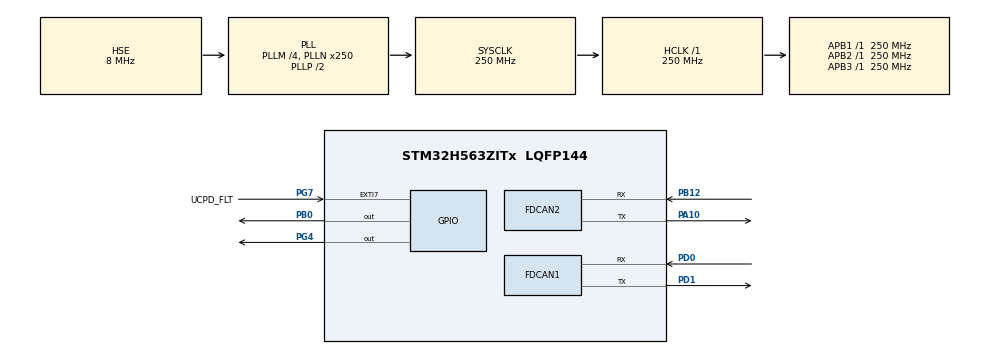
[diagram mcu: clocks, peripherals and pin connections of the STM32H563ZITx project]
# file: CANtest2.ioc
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BOOTPATH.BootPathName=LEGACY
BOOTPATH.UserSelectedBootPath=LEGACY
CORTEX_M33_NS.userName=CORTEX_M33
FDCAN1.CalculateBaudRateNominal=125000
FDCAN1.CalculateTimeBitNominal=8000
FDCAN1.CalculateTimeQuantumNominal=500.0
FDCAN1.NominalPrescaler=4
FDCAN1.NominalTimeSeg1=11
FDCAN1.NominalTimeSeg2=4
FDCAN2.CalculateBaudRateNominal=125000
FDCAN2.CalculateTimeBitNominal=8000
FDCAN2.CalculateTimeQuantumNominal=500.0
FDCAN2.NominalPrescaler=4
FDCAN2.NominalTimeSeg1=11
FDCAN2.NominalTimeSeg2=4
Mcu.Family=STM32H5
Mcu.Name=STM32H563ZITx
Mcu.Package=LQFP144
NUCLEO-H563ZI.BUTTON=1
NUCLEO-H563ZI.Bsp_Common_DEMO=true
NUCLEO-H563ZI.LD1=true
NUCLEO-H563ZI.LD2=true
NUCLEO-H563ZI.LD3=true
NUCLEO-H563ZI.VCP=true
NVIC.EXTI13_IRQn=true\:0\:0\:false\:false\:true\:false\:true\:true
NVIC.FDCAN1_IT0_IRQn=true\:5\:0\:true\:false\:true\:true\:true\:true
NVIC.FDCAN1_IT1_IRQn=true\:5\:0\:true\:false\:true\:true\:true\:true
NVIC.FDCAN2_IT0_IRQn=true\:5\:0\:true\:false\:true\:true\:true\:true
NVIC.FDCAN2_IT1_IRQn=true\:5\:0\:true\:false\:true\:true\:true\:true
NVIC.PriorityGroup=NVIC_PRIORITYGROUP_4
NVIC.TIM6_IRQn=true\:15\:0\:false\:false\:true\:false\:true\:true
NVIC.TimeBase=TIM6_IRQn
NVIC.TimeBaseIP=TIM6
PA1.GPIO_Label=RMII_REF_CLK
PA1.GPIO_Mode=GPIO_MODE_AF_PP
PA1.GPIO_PuPd=GPIO_NOPULL
PA1.GPIO_Speed=GPIO_SPEED_FREQ_LOW
PA1.Signal=ETH_REF_CLK
PA10.Mode=FDCAN_Activate
PA10.Signal=FDCAN2_TX
PA11.GPIO_Label=USB_FS_N
PA11.Signal=USB_DM
PA12.GPIO_Label=USB_FS_P
PA12.Signal=USB_DP
PA13(JTMS/SWDIO).GPIO_Label=SWDIO
PA13(JTMS/SWDIO).Signal=DEBUG_JTMS-SWDIO
PA14(JTCK/SWCLK).GPIO_Label=SWCLK
PA14(JTCK/SWCLK).Signal=DEBUG_JTCK-SWCLK
PA15(JTDI).GPIO_Label=T_JTDI
PA15(JTDI).Signal=DEBUG_JTDI
PA2.GPIO_Label=RMII_MDIO
PA2.GPIO_Mode=GPIO_MODE_AF_PP
PA2.GPIO_PuPd=GPIO_NOPULL
PA2.GPIO_Speed=GPIO_SPEED_FREQ_LOW
PA2.Signal=ETH_MDIO
PA4.GPIO_Label=VBUS_SENSE
PA4.Signal=ADCx_INP18
PA7.GPIO_Label=RMII_CRS_DV
PA7.GPIO_Mode=GPIO_MODE_AF_PP
PA7.GPIO_PuPd=GPIO_NOPULL
PA7.GPIO_Speed=GPIO_SPEED_FREQ_LOW
PA7.Signal=ETH_CRS_DV
PA9.GPIO_Label=UCDP_DBn
PA9.Signal=UCPD1_DB1
PB0.Signal=GPIO_Output
PB12.Mode=FDCAN_Activate
PB12.Signal=FDCAN2_RX
PB13.GPIO_Label=UCPD_CC1
PB13.Signal=UCPD1_CC1
PB14.GPIO_Label=UCPD_CC2
PB14.Signal=UCPD1_CC2
PB15.GPIO_Label=RMII_TXD1
PB15.GPIO_Mode=GPIO_MODE_AF_PP
PB15.GPIO_PuPd=GPIO_NOPULL
PB15.GPIO_Speed=GPIO_SPEED_FREQ_LOW
PB15.Signal=ETH_TXD1
PB3(JTDO/TRACESWO).GPIO_Label=SWO
PB3(JTDO/TRACESWO).Signal=DEBUG_JTDO-SWO
PB6.GPIO_Label=ARD_D1_TX
PB6.Signal=LPUART1_TX
PB7.GPIO_Label=ARD_D0_RX
PB7.Signal=LPUART1_RX
PC1.GPIO_Label=RMII_MDC
PC1.GPIO_Mode=GPIO_MODE_AF_PP
PC1.GPIO_PuPd=GPIO_NOPULL
PC1.GPIO_Speed=GPIO_SPEED_FREQ_LOW
PC1.Signal=ETH_MDC
PC14-OSC32_IN(OSC32_IN).Signal=RCC_OSC32_IN
PC15-OSC32_OUT(OSC32_OUT).Signal=RCC_OSC32_OUT
PC4.GPIO_Label=RMII_RXD0
PC4.GPIO_Mode=GPIO_MODE_AF_PP
PC4.GPIO_PuPd=GPIO_NOPULL
PC4.GPIO_Speed=GPIO_SPEED_FREQ_LOW
PC4.Signal=ETH_RXD0
PC5.GPIO_Label=RMII_RXD1
PC5.GPIO_Mode=GPIO_MODE_AF_PP
PC5.GPIO_PuPd=GPIO_NOPULL
PC5.GPIO_Speed=GPIO_SPEED_FREQ_LOW
PC5.Signal=ETH_RXD1
PD0.Mode=FDCAN_Activate
PD0.Signal=FDCAN1_RX
PD1.Mode=FDCAN_Activate
PD1.Signal=FDCAN1_TX
PE2.GPIO_Label=TRACE_CK
PE2.Signal=DEBUG_TRACECLK
PE3.GPIO_Label=TRACE_D0
PE3.Signal=DEBUG_TRACED0
PE4.GPIO_Label=TRACE_D1
PE4.Signal=DEBUG_TRACED1
PE5.GPIO_Label=TRACE_D2
PE5.Signal=DEBUG_TRACED2
PE6.GPIO_Label=TRACE_D3
PE6.Signal=DEBUG_TRACED3
PG11.GPIO_Label=RMII_TXT_EN
PG11.GPIO_Mode=GPIO_MODE_AF_PP
PG11.GPIO_PuPd=GPIO_NOPULL
PG11.GPIO_Speed=GPIO_SPEED_FREQ_LOW
PG11.Signal=ETH_TX_EN
PG13.GPIO_Label=RMI_TXD0
PG13.GPIO_Mode=GPIO_MODE_AF_PP
PG13.GPIO_PuPd=GPIO_NOPULL
PG13.GPIO_Speed=GPIO_SPEED_FREQ_LOW
PG13.Signal=ETH_TXD0
PG4.Signal=GPIO_Output
PG7.GPIO_Label=UCPD_FLT
PG7.Signal=GPXTI7
PH0-OSC_IN(PH0).GPIO_Label=STLK_MCO
PH0-OSC_IN(PH0).Mode=HSE-DIG-External-Clock-Source
PH0-OSC_IN(PH0).Signal=RCC_OSC_IN
ProjectManager.HeapSize=0x200
ProjectManager.StackSize=0x400
ProjectManager.TargetToolchain=CMake
RCC.ADCFreq_Value=250000000
RCC.AHBFreq_Value=250000000
RCC.APB1Freq_Value=250000000
RCC.APB1TimFreq_Value=250000000
RCC.APB2Freq_Value=250000000
RCC.APB2TimFreq_Value=250000000
RCC.APB3Freq_Value=250000000
RCC.CSI_VALUE=4000000
RCC.CortexFreq_Value=250000000
RCC.EPOD_VALUE=8000000
RCC.HCLKFreq_Value=250000000
RCC.HSE_VALUE=8000000
RCC.HSI48_VALUE=48000000
RCC.HSIDiv=RCC_HSI_DIV1
RCC.HSI_VALUE=64000000
RCC.LSE_VALUE=32768
RCC.LSIRC_VALUE=32000
RCC.PLLFRACN=0
RCC.PLLM=4
RCC.PLLN=250
RCC.PLLSourceVirtual=RCC_PLL1_SOURCE_HSE
RCC.SYSCLKFreq_VALUE=250000000
RCC.SYSCLKSource=RCC_SYSCLKSOURCE_PLLCLK
RCC.USBFreq_Value=48000000
RCC.VCOOutputFreq_Value=500000000
SH.ADCx_INP18.0=ADC1_INP18
VP_BOOTPATH_VS_BOOTPATH.Mode=BP_Activate
VP_CORTEX_M33_NS_VS_Hclk.Mode=Hclk_Mode
VP_ICACHE_VS_ICACHE.Mode=DefaultMode
VP_MEMORYMAP_VS_MEMORYMAP.Mode=CurAppReg
VP_NUCLEO-H563ZI_VS_BSP_COMMON.Mode=COMMON
VP_PWR_VS_DBSignals.Mode=DisableDeadBatterySignals
VP_PWR_VS_LPOM.Mode=PowerOptimisation
VP_PWR_VS_SECSignals.Mode=Security/Privilege
VP_SYS_VS_tim6.Mode=TIM6
board=NUCLEO-H563ZI

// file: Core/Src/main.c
/* USER CODE BEGIN Header */
/**
  ******************************************************************************
  * @file           : main.c
  * @brief          : Main program body
  ******************************************************************************
  * @attention
  *
  * Copyright (c) 2026 STMicroelectronics.
  * All rights reserved.
  *
  * This software is licensed under terms that can be found in the LICENSE file
  * in the root directory of this software component.
  * If no LICENSE file comes with this software, it is provided AS-IS.
  *
  ******************************************************************************
  */
/* USER CODE END Header */
#include "main.h"
#include "stm32h5xx_nucleo.h"

COM_InitTypeDef BspCOMInit;
__IO uint32_t BspButtonState = BUTTON_RELEASED;

FDCAN_HandleTypeDef hfdcan1;
FDCAN_HandleTypeDef hfdcan2;

/* USER CODE BEGIN PV */

static volatile uint8_t can_rx_complete = 0;
static volatile uint8_t can_tx_complete = 0;
static volatile FDCAN_RxHeaderTypeDef can_rx_hdr;
static volatile uint8_t can_rx_buf[8];

/* USER CODE END PV */

void SystemClock_Config(void);
static void MX_GPIO_Init(void);
static void MX_FDCAN1_Init(void);
static void MX_FDCAN2_Init(void);
static void MX_ICACHE_Init(void);

/* USER CODE BEGIN 0 */

static uint8_t can_test_number = 0;  /* 0 = CAN1 Loopback, 1 = CAN2 Loopback, 2 = Direct Transceiver Loopback (bidirectional) */

/**
  * @brief  Perform CAN tests with different modes
  * @param  None
  * @retval None
  */
static void CAN_LoopbackTest(void)
{
  HAL_StatusTypeDef status;
  FDCAN_TxHeaderTypeDef TxHeader;
  uint8_t TxData[8] = {0x01, 0x02, 0x03, 0x04, 0x05, 0x06, 0x07, 0x08};
  /* RX handled via interrupt callback into can_rx_hdr/can_rx_buf */
  uint32_t timeout = 0;
  uint8_t test_passed = 0;
  uint8_t i;
  FDCAN_HandleTypeDef *TestHandle;
  FDCAN_HandleTypeDef *OtherHandle;
  const char *TestName;
  const char *OtherName;
  const char *TestDesc;

  printf("\n\r========== CAN Test %d Start ==========\n\r", can_test_number + 1);

  /* Determine which test to run */
  switch (can_test_number)
  {
    case 0:
      /* Test 1: CAN1 Internal Loopback */
      TestHandle = &hfdcan1;
      OtherHandle = NULL;
      TestName = "CAN1";
      OtherName = NULL;
      TestDesc = "Internal Loopback with Interrupts";
      printf("Testing: CAN1 (Internal Loopback with Interrupts)\n\r");
      break;
    case 1:
      /* Test 2: CAN2 Internal Loopback */
      TestHandle = &hfdcan2;
      OtherHandle = NULL;
      TestName = "CAN2";
      OtherName = NULL;
      TestDesc = "Internal Loopback with Interrupts";
      printf("Testing: CAN2 (Internal Loopback with Interrupts)\n\r");
      break;
    case 2:
      /* Test 3: Direct Transceiver Loopback via External Connection - Bidirectional */
      TestHandle = &hfdcan1;
      OtherHandle = &hfdcan2;
      TestName = "CAN1";
      OtherName = "CAN2";
      TestDesc = "Direct Transceiver Loopback (Bidirectional)";
      printf("Testing: Bidirectional Direct Transceiver Loopback\n\r");
      printf("Note: Requires CAN1 and CAN2 connected on external CAN bus\n\r");
      break;
    default:
      can_test_number = 0;
      return;
  }

  /* Stop any existing operation */
  HAL_FDCAN_Stop(TestHandle);
  if (OtherHandle != NULL)
  {
    HAL_FDCAN_Stop(OtherHandle);
  }
  HAL_Delay(10);

  /* Reset flags */
  can_rx_complete = 0;
  can_tx_complete = 0;

  /* Configure the test based on test number */
  if (can_test_number == 2)
  {
    /* Test 3: Reconfigure to Normal Mode for direct transceiver loopback */
    printf("[DEBUG] Reconfiguring to Normal Mode...\n\r");
    TestHandle->Init.Mode = FDCAN_MODE_NORMAL;
    TestHandle->Init.StdFiltersNbr = 2;  /* Need 2 filters for bidirectional test */
    OtherHandle->Init.Mode = FDCAN_MODE_NORMAL;
    OtherHandle->Init.StdFiltersNbr = 2;  /* Need 2 filters for bidirectional test */
    if (HAL_FDCAN_Init(TestHandle) != HAL_OK)
    {
      printf("ERROR: Failed to reconfigure %s to Normal Mode\n\r", TestName);
      goto test_end;
    }
    if (HAL_FDCAN_Init(OtherHandle) != HAL_OK)
    {
      printf("ERROR: Failed to reconfigure %s to Normal Mode\n\r", OtherName);
      goto test_end;
    }
    printf("Reconfigured %s and %s to Normal Mode\n\r", TestName, OtherName);
  }

  /* Add a filter to accept the test message (must be done AFTER Init) */
  FDCAN_FilterTypeDef sFilterConfig;
  sFilterConfig.IdType = FDCAN_STANDARD_ID;
  sFilterConfig.FilterIndex = 0;
  sFilterConfig.FilterType = FDCAN_FILTER_MASK;
  sFilterConfig.FilterConfig = FDCAN_FILTER_TO_RXFIFO0;
  sFilterConfig.FilterID1 = 0x123;
  sFilterConfig.FilterID2 = 0x7FF;  /* Mask for all 11-bit identifiers */

  if (HAL_FDCAN_ConfigFilter(TestHandle, &sFilterConfig) != HAL_OK)
  {
    printf("ERROR: Failed to configure filter on %s\n\r", TestName);
  }

  /* For test 3, add filter for reverse direction ID on CAN1 */
  if (can_test_number == 2)
  {
    FDCAN_FilterTypeDef sFilterConfig1 = sFilterConfig;
    sFilterConfig1.FilterID1 = 0x234;  /* Accept reverse direction ID */
    sFilterConfig1.FilterIndex = 1;  /* Use second filter slot */
    if (HAL_FDCAN_ConfigFilter(TestHandle, &sFilterConfig1) != HAL_OK)
    {
      printf("ERROR: Failed to configure second filter on %s\n\r", TestName);
    }
    printf("[DEBUG] %s filters configured for IDs 0x%03X and 0x%03X\n\r",
           TestName, (unsigned int)sFilterConfig.FilterID1, (unsigned int)sFilterConfig1.FilterID1);
  }
  else
  {
    printf("[DEBUG] %s filter configured for ID 0x%03X\n\r", TestName, (unsigned int)sFilterConfig.FilterID1);
  }

  if (OtherHandle != NULL)
  {
    /* For test 3, also configure filter for reverse direction ID */
    FDCAN_FilterTypeDef sFilterConfig2 = sFilterConfig;
    sFilterConfig2.FilterID1 = 0x234;  /* Accept reverse direction ID */
    sFilterConfig2.FilterIndex = 1;  /* Use second filter slot */
    if (HAL_FDCAN_ConfigFilter(OtherHandle, &sFilterConfig) != HAL_OK)
    {
      printf("ERROR: Failed to configure filter on %s\n\r", OtherName);
    }
    if (HAL_FDCAN_ConfigFilter(OtherHandle, &sFilterConfig2) != HAL_OK)
    {
      printf("ERROR: Failed to configure second filter on %s\n\r", OtherName);
    }
    printf("[DEBUG] %s filters configured for IDs 0x%03X and 0x%03X\n\r",
           OtherName, (unsigned int)sFilterConfig.FilterID1, (unsigned int)sFilterConfig2.FilterID1);
  }

  /* Start FDCAN controllers */
  if (HAL_FDCAN_Start(TestHandle) != HAL_OK)
  {
    printf("ERROR: Failed to start %s\n\r", TestName);
    goto test_end;
  }
  printf("[DEBUG] %s started successfully\n\r", TestName);

  if (OtherHandle != NULL)
  {
    if (HAL_FDCAN_Start(OtherHandle) != HAL_OK)
    {
      printf("ERROR: Failed to start %s\n\r", OtherName);
      goto test_end;
    }
    printf("[DEBUG] %s started successfully\n\r", OtherName);
  }

  /* Configure RX FIFO0 interrupt (after start) */
  HAL_FDCAN_ActivateNotification(TestHandle, FDCAN_IT_RX_FIFO0_NEW_MESSAGE, 0);
  HAL_FDCAN_ActivateNotification(TestHandle, FDCAN_IT_TX_COMPLETE, 0);

  if (OtherHandle != NULL)
  {
    HAL_FDCAN_ActivateNotification(OtherHandle, FDCAN_IT_RX_FIFO0_NEW_MESSAGE, 0);
    HAL_FDCAN_ActivateNotification(OtherHandle, FDCAN_IT_TX_COMPLETE, 0);
  }

  /* Configure global filter: accept non-matching standard IDs to RX FIFO0, reject extended */
  HAL_FDCAN_ConfigGlobalFilter(TestHandle,
                               FDCAN_ACCEPT_IN_RX_FIFO0,
                               FDCAN_REJECT,
                               FDCAN_REJECT_REMOTE,
                               FDCAN_REJECT_REMOTE);

  if (OtherHandle != NULL)
  {
    HAL_FDCAN_ConfigGlobalFilter(OtherHandle,
                                 FDCAN_ACCEPT_IN_RX_FIFO0,
                                 FDCAN_REJECT,
                                 FDCAN_REJECT_REMOTE,
                                 FDCAN_REJECT_REMOTE);
  }

  /* Configure TX header */
  TxHeader.Identifier = 0x123;                  /* Test ID */
  TxHeader.IdType = FDCAN_STANDARD_ID;
  TxHeader.TxFrameType = FDCAN_DATA_FRAME;
  TxHeader.DataLength = FDCAN_DLC_BYTES_8;
  TxHeader.ErrorStateIndicator = FDCAN_ESI_ACTIVE;
  TxHeader.BitRateSwitch = FDCAN_BRS_OFF;
  TxHeader.FDFormat = FDCAN_CLASSIC_CAN;
  TxHeader.TxEventFifoControl = FDCAN_NO_TX_EVENTS;
  TxHeader.MessageMarker = 0;

  /* Transmit test message from primary controller */
  status = HAL_FDCAN_AddMessageToTxFifoQ(TestHandle, &TxHeader, TxData);
  if (status != HAL_OK)
  {
    printf("ERROR: Failed to add message to %s TX FIFO\n\r", TestName);
    printf("Status: %d\n\r", status);
    goto test_end;
  }
  printf("%s TX: Message queued (ID: 0x%03X, Data: ", TestName, (unsigned int)TxHeader.Identifier);
  for (i = 0; i < 8; i++)
  {
    printf("%02X ", TxData[i]);
  }
  printf(")\n\r");

  /* For tests 1 & 2, wait shorter; for test 3 (external), wait longer */
  uint32_t wait_time = (can_test_number == 2) ? 100 : 5;
  HAL_Delay(wait_time);

  /* Check RX FIFO levels */
  if (can_test_number == 2)
  {
    uint32_t fifo_level = HAL_FDCAN_GetRxFifoFillLevel(OtherHandle, FDCAN_RX_FIFO0);
    printf("[DEBUG] %s RX FIFO0 level: %u\n\r", OtherName, (unsigned int)fifo_level);
  }

  /* Check protocol status and error counters */
  FDCAN_ProtocolStatusTypeDef protocolStatus;
  FDCAN_ErrorCountersTypeDef errorCounters;
  HAL_FDCAN_GetProtocolStatus(TestHandle, &protocolStatus);
  HAL_FDCAN_GetErrorCounters(TestHandle, &errorCounters);
  printf("%s TEC: %u, REC: %u, ErrorLogging: %u\n\r", TestName,
    (unsigned int)errorCounters.TxErrorCnt,
    (unsigned int)errorCounters.RxErrorCnt,
    (unsigned int)errorCounters.ErrorLogging);
  printf("[DEBUG] %s LastErrorCode: 0x%02X, BusOff: %u, ErrorPassive: %u\n\r", TestName,
    (unsigned int)protocolStatus.LastErrorCode,
    (unsigned int)protocolStatus.BusOff,
    (unsigned int)protocolStatus.ErrorPassive);

  if (OtherHandle != NULL)
  {
    HAL_FDCAN_GetProtocolStatus(OtherHandle, &protocolStatus);
    HAL_FDCAN_GetErrorCounters(OtherHandle, &errorCounters);
    printf("%s TEC: %u, REC: %u, ErrorLogging: %u\n\r", OtherName,
      (unsigned int)errorCounters.TxErrorCnt,
      (unsigned int)errorCounters.RxErrorCnt,
      (unsigned int)errorCounters.ErrorLogging);
    printf("[DEBUG] %s LastErrorCode: 0x%02X, BusOff: %u, ErrorPassive: %u\n\r", OtherName,
      (unsigned int)protocolStatus.LastErrorCode,
      (unsigned int)protocolStatus.BusOff,
      (unsigned int)protocolStatus.ErrorPassive);
  }

  /* Wait for message reception with interrupt */
  timeout = 0;
  uint32_t max_timeout = (can_test_number == 2) ? 2000 : 1000;  /* Longer timeout for external tests */
  printf("[DEBUG] Waiting for RX (max %ums)...\n\r", (unsigned int)max_timeout);
  while (can_rx_complete == 0 && timeout < max_timeout)
  {
    HAL_Delay(1);
    timeout++;
    /* Check for TX complete */
    if (can_test_number == 2 && timeout == 50 && can_tx_complete)
    {
      printf("[DEBUG] TX complete confirmed\n\r");
    }
  }

  if (can_rx_complete)
  {
      printf("%s RX: Message received (ID: 0x%03X, Data: ",
             (OtherHandle != NULL && can_test_number == 2) ? OtherName : TestName,
             (unsigned int)can_rx_hdr.Identifier);
      for (i = 0; i < 8; i++)
      {
        printf("%02X ", can_rx_buf[i]);
      }
      printf(")\n\r");

      /* Verify the received message */
      if (can_rx_hdr.Identifier == TxHeader.Identifier)
      {
        test_passed = 1;
        for (i = 0; i < 8; i++)
        {
          if (can_rx_buf[i] != TxData[i])
          {
            test_passed = 0;
            break;
          }
        }
      }

      if (!test_passed)
      {
        printf("\n\r*** CAN TEST %d FAILED: Data Mismatch ***\n\r", can_test_number + 1);
        BSP_LED_On(LED_RED);
        goto test_end;
      }
  }
  else
  {
    printf("ERROR: No message received (timeout after %ums)\n\r", (unsigned int)timeout);
    if (can_test_number == 2)
    {
      printf("[DEBUG] TX complete flag: %u\n\r", can_tx_complete);
      printf("[DEBUG] RX complete flag: %u\n\r", can_rx_complete);

      /* Check FIFO levels */
      uint32_t fifo_level_can1 = HAL_FDCAN_GetRxFifoFillLevel(TestHandle, FDCAN_RX_FIFO0);
      uint32_t fifo_level_can2 = HAL_FDCAN_GetRxFifoFillLevel(OtherHandle, FDCAN_RX_FIFO0);
      printf("[DEBUG] %s RX FIFO0 level: %u, %s RX FIFO0 level: %u\n\r",
             TestName, (unsigned int)fifo_level_can1, OtherName, (unsigned int)fifo_level_can2);

      /* Re-check error counters */
      HAL_FDCAN_GetErrorCounters(TestHandle, &errorCounters);
      HAL_FDCAN_GetProtocolStatus(TestHandle, &protocolStatus);
      printf("[DEBUG] %s Final TEC: %u, REC: %u, LastError: 0x%02X\n\r", TestName,
        (unsigned int)errorCounters.TxErrorCnt,
        (unsigned int)errorCounters.RxErrorCnt,
        (unsigned int)protocolStatus.LastErrorCode);
      if (OtherHandle != NULL)
      {
        HAL_FDCAN_GetErrorCounters(OtherHandle, &errorCounters);
        HAL_FDCAN_GetProtocolStatus(OtherHandle, &protocolStatus);
        printf("[DEBUG] %s Final TEC: %u, REC: %u, LastError: 0x%02X\n\r", OtherName,
          (unsigned int)errorCounters.TxErrorCnt,
          (unsigned int)errorCounters.RxErrorCnt,
          (unsigned int)protocolStatus.LastErrorCode);
      }
      printf("Hint for Test 3:\n\r");
      printf("  1. Verify CAN1 and CAN2 are physically connected via transceivers\n\r");
      printf("  2. Check CAN bus termination (120 ohm resistors at both ends)\n\r");
      printf("  3. Verify transceiver power and connections (CANH, CANL, GND)\n\r");
      printf("  4. TEC increasing = No ACK (no device on bus or bus error)\n\r");
      printf("  5. If no hardware: Test 3 requires external CAN transceivers\n\r");
    }
    BSP_LED_On(LED_RED);
    goto test_end;
  }

  /* For Test 3, perform bidirectional test (reverse direction) */
  if (can_test_number == 2)
  {
    printf("\n\r--- Bidirectional Test: Reverse Direction ---\n\r");

    /* Reset flags for second direction */
    can_rx_complete = 0;
    can_tx_complete = 0;

    /* Prepare different data for reverse test */
    uint8_t TxData2[8] = {0x08, 0x07, 0x06, 0x05, 0x04, 0x03, 0x02, 0x01};
    TxHeader.Identifier = 0x234;  /* Different ID for reverse direction */

    /* Transmit from OtherHandle (CAN2) */
    status = HAL_FDCAN_AddMessageToTxFifoQ(OtherHandle, &TxHeader, TxData2);
    if (status != HAL_OK)
    {
      printf("ERROR: Failed to add message to %s TX FIFO\n\r", OtherName);
      printf("Status: %d\n\r", status);
      goto test_end;
    }
    printf("%s TX: Message queued (ID: 0x%03X, Data: ", OtherName, (unsigned int)TxHeader.Identifier);
    for (i = 0; i < 8; i++)
    {
      printf("%02X ", TxData2[i]);
    }
    printf(")\n\r");

    HAL_Delay(100);

    /* Wait for message reception on TestHandle (CAN1) */
    timeout = 0;
    printf("[DEBUG] Waiting for reverse direction RX...\n\r");
    while (can_rx_complete == 0 && timeout < 2000)
    {
      HAL_Delay(1);
      timeout++;
      /* Check for TX complete in reverse direction */
      if (timeout == 50 && can_tx_complete)
      {
        printf("[DEBUG] Reverse TX complete confirmed\n\r");
      }
    }

    if (can_rx_complete)
    {
        printf("%s RX: Message received (ID: 0x%03X, Data: ", TestName, (unsigned int)can_rx_hdr.Identifier);
        for (i = 0; i < 8; i++)
        {
          printf("%02X ", can_rx_buf[i]);
        }
        printf(")\n\r");

        /* Verify the received message */
        if (can_rx_hdr.Identifier == TxHeader.Identifier)
        {
          test_passed = 1;
          for (i = 0; i < 8; i++)
          {
            if (can_rx_buf[i] != TxData2[i])
            {
              test_passed = 0;
              break;
            }
          }
        }

        if (test_passed)
        {
          printf("\n\r*** CAN TEST %d PASSED (Bidirectional) ***\n\r", can_test_number + 1);
          BSP_LED_On(LED_YELLOW);
          HAL_Delay(500);
          BSP_LED_Off(LED_YELLOW);
        }
        else
        {
          printf("\n\r*** CAN TEST %d FAILED: Reverse Direction Data Mismatch ***\n\r", can_test_number + 1);
          BSP_LED_On(LED_RED);
        }
    }
    else
    {
      printf("ERROR: No message received on %s in reverse direction (timeout after %ums)\n\r", TestName, (unsigned int)timeout);
      printf("[DEBUG] Reverse TX complete flag: %u\n\r", can_tx_complete);
      /* Check error counters for reverse direction failure */
      HAL_FDCAN_GetErrorCounters(OtherHandle, &errorCounters);
      HAL_FDCAN_GetProtocolStatus(OtherHandle, &protocolStatus);
      printf("[DEBUG] %s Reverse TEC: %u, REC: %u, LastError: 0x%02X\n\r", OtherName,
        (unsigned int)errorCounters.TxErrorCnt,
        (unsigned int)errorCounters.RxErrorCnt,
        (unsigned int)protocolStatus.LastErrorCode);
      BSP_LED_On(LED_RED);
    }
  }
  else
  {
    /* For tests 1 and 2, single direction is enough */
    printf("\n\r*** CAN TEST %d PASSED (%s) ***\n\r", can_test_number + 1, TestDesc);
    BSP_LED_On(LED_YELLOW);
    HAL_Delay(500);
    BSP_LED_Off(LED_YELLOW);
  }

test_end:
  /* Move to next test */
  can_test_number = (can_test_number + 1) % 3;

  /* Stop FDCAN controllers */
  HAL_FDCAN_Stop(TestHandle);
  if (OtherHandle != NULL)
  {
    HAL_FDCAN_Stop(OtherHandle);
  }

  /* Re-initialize to loopback mode if we're moving back to tests 1 or 2 */
  if (can_test_number == 0 || can_test_number == 1)
  {
    FDCAN_HandleTypeDef *handle = (can_test_number == 0) ? &hfdcan1 : &hfdcan2;
    handle->Init.Mode = FDCAN_MODE_INTERNAL_LOOPBACK;
    HAL_FDCAN_Init(handle);
  }

  printf("========== CAN Test %d End ==========\n\r\n\r", (can_test_number == 0) ? 3 : can_test_number);
}

/* USER CODE END 0 */

int main(void)
{

  /* MCU Configuration--------------------------------------------------------*/

  /* Reset of all peripherals, Initializes the Flash interface and the Systick. */
  HAL_Init();

  /* Configure the system clock */
  SystemClock_Config();

  /* Initialize all configured peripherals */
  MX_GPIO_Init();
  MX_FDCAN1_Init();
  MX_FDCAN2_Init();
  MX_ICACHE_Init();

  /* Initialize leds */
  BSP_LED_Init(LED_GREEN);
  BSP_LED_Init(LED_YELLOW);
  BSP_LED_Init(LED_RED);

  /* Initialize USER push-button, will be used to trigger an interrupt each time it's pressed.*/
  BSP_PB_Init(BUTTON_USER, BUTTON_MODE_EXTI);

  /* Initialize COM1 port (115200, 8 bits (7-bit data + 1 stop bit), no parity */
  BspCOMInit.BaudRate   = 115200;
  BspCOMInit.WordLength = COM_WORDLENGTH_8B;
  BspCOMInit.StopBits   = COM_STOPBITS_1;
  BspCOMInit.Parity     = COM_PARITY_NONE;
  BspCOMInit.HwFlowCtl  = COM_HWCONTROL_NONE;
  if (BSP_COM_Init(COM1, &BspCOMInit) != BSP_ERROR_NONE)
  {
    Error_Handler();
  }

  /* USER CODE BEGIN BSP */
  /* -- Sample board code to send message over COM1 port ---- */
  printf("Welcome to STM32 world !\n\r");
  printf("CAN Bus Tests - Press user button to cycle through tests:\n\r");
  printf("  Test 1: CAN1 Internal Loopback\n\r");
  printf("  Test 2: CAN2 Internal Loopback\n\r");
  printf("  Test 3: Direct Transceiver Loopback (Bidirectional)\n\r");
  /* -- Sample board code to switch on leds ---- */
  BSP_LED_On(LED_GREEN);
  /* USER CODE END BSP */

  /* Infinite loop */
  /* USER CODE BEGIN WHILE */
  while (1)
  {

    /* -- Sample board code for User push-button in interrupt mode ---- */
    if (BspButtonState == BUTTON_PRESSED)
    {
      /* Update button state */
      BspButtonState = BUTTON_RELEASED;
      /* Perform CAN loopback test */
      CAN_LoopbackTest();
    }
    /* USER CODE END WHILE */

  }
}

void SystemClock_Config(void)
{
  RCC_OscInitTypeDef RCC_OscInitStruct = {0};
  RCC_ClkInitTypeDef RCC_ClkInitStruct = {0};

  /** Configure the main internal regulator output voltage
  */
  __HAL_PWR_VOLTAGESCALING_CONFIG(PWR_REGULATOR_VOLTAGE_SCALE0);

  while(!__HAL_PWR_GET_FLAG(PWR_FLAG_VOSRDY)) {}

  /** Initializes the RCC Oscillators according to the specified parameters
  * in the RCC_OscInitTypeDef structure.
  */
  RCC_OscInitStruct.OscillatorType = RCC_OSCILLATORTYPE_HSE;
  RCC_OscInitStruct.HSEState = RCC_HSE_BYPASS_DIGITAL;
  RCC_OscInitStruct.PLL.PLLState = RCC_PLL_ON;
  RCC_OscInitStruct.PLL.PLLSource = RCC_PLL1_SOURCE_HSE;
  RCC_OscInitStruct.PLL.PLLM = 4;
  RCC_OscInitStruct.PLL.PLLN = 250;
  RCC_OscInitStruct.PLL.PLLP = 2;
  RCC_OscInitStruct.PLL.PLLQ = 2;
  RCC_OscInitStruct.PLL.PLLR = 2;
  RCC_OscInitStruct.PLL.PLLRGE = RCC_PLL1_VCIRANGE_1;
  RCC_OscInitStruct.PLL.PLLVCOSEL = RCC_PLL1_VCORANGE_WIDE;
  RCC_OscInitStruct.PLL.PLLFRACN = 0;
  if (HAL_RCC_OscConfig(&RCC_OscInitStruct) != HAL_OK)
  {
    Error_Handler();
  }

  /** Initializes the CPU, AHB and APB buses clocks
  */
  RCC_ClkInitStruct.ClockType = RCC_CLOCKTYPE_HCLK|RCC_CLOCKTYPE_SYSCLK
                              |RCC_CLOCKTYPE_PCLK1|RCC_CLOCKTYPE_PCLK2
                              |RCC_CLOCKTYPE_PCLK3;
  RCC_ClkInitStruct.SYSCLKSource = RCC_SYSCLKSOURCE_PLLCLK;
  RCC_ClkInitStruct.AHBCLKDivider = RCC_SYSCLK_DIV1;
  RCC_ClkInitStruct.APB1CLKDivider = RCC_HCLK_DIV1;
  RCC_ClkInitStruct.APB2CLKDivider = RCC_HCLK_DIV1;
  RCC_ClkInitStruct.APB3CLKDivider = RCC_HCLK_DIV1;

  if (HAL_RCC_ClockConfig(&RCC_ClkInitStruct, FLASH_LATENCY_5) != HAL_OK)
  {
    Error_Handler();
  }

  /** Configure the programming delay
  */
  __HAL_FLASH_SET_PROGRAM_DELAY(FLASH_PROGRAMMING_DELAY_2);
}

static void MX_FDCAN1_Init(void)
{

  hfdcan1.Instance = FDCAN1;
  hfdcan1.Init.ClockDivider = FDCAN_CLOCK_DIV1;
  hfdcan1.Init.FrameFormat = FDCAN_FRAME_CLASSIC;
  hfdcan1.Init.Mode = FDCAN_MODE_INTERNAL_LOOPBACK;
  hfdcan1.Init.AutoRetransmission = DISABLE;
  hfdcan1.Init.TransmitPause = DISABLE;
  hfdcan1.Init.ProtocolException = DISABLE;
  hfdcan1.Init.NominalPrescaler = 4;
  hfdcan1.Init.NominalSyncJumpWidth = 1;
  hfdcan1.Init.NominalTimeSeg1 = 11;
  hfdcan1.Init.NominalTimeSeg2 = 4;
  hfdcan1.Init.DataPrescaler = 1;
  hfdcan1.Init.DataSyncJumpWidth = 1;
  hfdcan1.Init.DataTimeSeg1 = 1;
  hfdcan1.Init.DataTimeSeg2 = 1;
  hfdcan1.Init.StdFiltersNbr = 1;
  hfdcan1.Init.ExtFiltersNbr = 0;
  hfdcan1.Init.TxFifoQueueMode = FDCAN_TX_FIFO_OPERATION;
  if (HAL_FDCAN_Init(&hfdcan1) != HAL_OK)
  {
    Error_Handler();
  }

}

static void MX_FDCAN2_Init(void)
{

  hfdcan2.Instance = FDCAN2;
  hfdcan2.Init.ClockDivider = FDCAN_CLOCK_DIV1;
  hfdcan2.Init.FrameFormat = FDCAN_FRAME_CLASSIC;
  hfdcan2.Init.Mode = FDCAN_MODE_INTERNAL_LOOPBACK;
  hfdcan2.Init.AutoRetransmission = DISABLE;
  hfdcan2.Init.TransmitPause = DISABLE;
  hfdcan2.Init.ProtocolException = DISABLE;
  hfdcan2.Init.NominalPrescaler = 4;
  hfdcan2.Init.NominalSyncJumpWidth = 1;
  hfdcan2.Init.NominalTimeSeg1 = 11;
  hfdcan2.Init.NominalTimeSeg2 = 4;
  hfdcan2.Init.DataPrescaler = 1;
  hfdcan2.Init.DataSyncJumpWidth = 1;
  hfdcan2.Init.DataTimeSeg1 = 1;
  hfdcan2.Init.DataTimeSeg2 = 1;
  hfdcan2.Init.StdFiltersNbr = 1;
  hfdcan2.Init.ExtFiltersNbr = 0;
  hfdcan2.Init.TxFifoQueueMode = FDCAN_TX_FIFO_OPERATION;
  if (HAL_FDCAN_Init(&hfdcan2) != HAL_OK)
  {
    Error_Handler();
  }

}

static void MX_ICACHE_Init(void)
{

  /** Enable instruction cache (default 2-ways set associative cache)
  */
  if (HAL_ICACHE_Enable() != HAL_OK)
  {
    Error_Handler();
  }

}

static void MX_GPIO_Init(void)
{
  GPIO_InitTypeDef GPIO_InitStruct = {0};

  /* GPIO Ports Clock Enable */
  __HAL_RCC_GPIOE_CLK_ENABLE();
  __HAL_RCC_GPIOC_CLK_ENABLE();
  __HAL_RCC_GPIOH_CLK_ENABLE();
  __HAL_RCC_GPIOA_CLK_ENABLE();
  __HAL_RCC_GPIOB_CLK_ENABLE();
  __HAL_RCC_GPIOG_CLK_ENABLE();
  __HAL_RCC_GPIOD_CLK_ENABLE();

  /*Configure GPIO pins : RMII_MDC_Pin RMII_RXD0_Pin RMII_RXD1_Pin */
  GPIO_InitStruct.Pin = RMII_MDC_Pin|RMII_RXD0_Pin|RMII_RXD1_Pin;
  GPIO_InitStruct.Mode = GPIO_MODE_AF_PP;
  GPIO_InitStruct.Pull = GPIO_NOPULL;
  GPIO_InitStruct.Speed = GPIO_SPEED_FREQ_HIGH;
  GPIO_InitStruct.Alternate = GPIO_AF11_ETH;
  HAL_GPIO_Init(GPIOC, &GPIO_InitStruct);

  /*Configure GPIO pins : RMII_REF_CLK_Pin RMII_MDIO_Pin RMII_CRS_DV_Pin */
  GPIO_InitStruct.Pin = RMII_REF_CLK_Pin|RMII_MDIO_Pin|RMII_CRS_DV_Pin;
  GPIO_InitStruct.Mode = GPIO_MODE_AF_PP;
  GPIO_InitStruct.Pull = GPIO_NOPULL;
  GPIO_InitStruct.Speed = GPIO_SPEED_FREQ_HIGH;
  GPIO_InitStruct.Alternate = GPIO_AF11_ETH;
  HAL_GPIO_Init(GPIOA, &GPIO_InitStruct);

  /*Configure GPIO pin : VBUS_SENSE_Pin */
  GPIO_InitStruct.Pin = VBUS_SENSE_Pin;
  GPIO_InitStruct.Mode = GPIO_MODE_ANALOG;
  GPIO_InitStruct.Pull = GPIO_NOPULL;
  HAL_GPIO_Init(VBUS_SENSE_GPIO_Port, &GPIO_InitStruct);

  /*Configure GPIO pins : UCPD_CC1_Pin UCPD_CC2_Pin */
  GPIO_InitStruct.Pin = UCPD_CC1_Pin|UCPD_CC2_Pin;
  GPIO_InitStruct.Mode = GPIO_MODE_ANALOG;
  GPIO_InitStruct.Pull = GPIO_NOPULL;
  HAL_GPIO_Init(GPIOB, &GPIO_InitStruct);

  /*Configure GPIO pin : RMII_TXD1_Pin */
  GPIO_InitStruct.Pin = RMII_TXD1_Pin;
  GPIO_InitStruct.Mode = GPIO_MODE_AF_PP;
  GPIO_InitStruct.Pull = GPIO_NOPULL;
  GPIO_InitStruct.Speed = GPIO_SPEED_FREQ_HIGH;
  GPIO_InitStruct.Alternate = GPIO_AF11_ETH;
  HAL_GPIO_Init(RMII_TXD1_GPIO_Port, &GPIO_InitStruct);

  /*Configure GPIO pin : UCPD_FLT_Pin */
  GPIO_InitStruct.Pin = UCPD_FLT_Pin;
  GPIO_InitStruct.Mode = GPIO_MODE_IT_RISING;
  GPIO_InitStruct.Pull = GPIO_NOPULL;
  HAL_GPIO_Init(UCPD_FLT_GPIO_Port, &GPIO_InitStruct);

  /*Configure GPIO pins : USB_FS_N_Pin USB_FS_P_Pin */
  GPIO_InitStruct.Pin = USB_FS_N_Pin|USB_FS_P_Pin;
  GPIO_InitStruct.Mode = GPIO_MODE_AF_PP;
  GPIO_InitStruct.Pull = GPIO_NOPULL;
  GPIO_InitStruct.Speed = GPIO_SPEED_FREQ_LOW;
  GPIO_InitStruct.Alternate = GPIO_AF10_USB;
  HAL_GPIO_Init(GPIOA, &GPIO_InitStruct);

  /*Configure GPIO pins : RMII_TXT_EN_Pin RMI_TXD0_Pin */
  GPIO_InitStruct.Pin = RMII_TXT_EN_Pin|RMI_TXD0_Pin;
  GPIO_InitStruct.Mode = GPIO_MODE_AF_PP;
  GPIO_InitStruct.Pull = GPIO_NOPULL;
  GPIO_InitStruct.Speed = GPIO_SPEED_FREQ_HIGH;
  GPIO_InitStruct.Alternate = GPIO_AF11_ETH;
  HAL_GPIO_Init(GPIOG, &GPIO_InitStruct);

  /*Configure GPIO pins : ARD_D1_TX_Pin ARD_D0_RX_Pin */
  GPIO_InitStruct.Pin = ARD_D1_TX_Pin|ARD_D0_RX_Pin;
  GPIO_InitStruct.Mode = GPIO_MODE_AF_PP;
  GPIO_InitStruct.Pull = GPIO_NOPULL;
  GPIO_InitStruct.Speed = GPIO_SPEED_FREQ_LOW;
  GPIO_InitStruct.Alternate = GPIO_AF8_LPUART1;
  HAL_GPIO_Init(GPIOB, &GPIO_InitStruct);

}

/* USER CODE BEGIN 4 */

/**
  * @brief  RX FIFO 0 callback.
  * @param  hfdcan pointer to an FDCAN_HandleTypeDef structure that contains
  *         the configuration information for the specified FDCAN.
  * @param  RxFifo0ITs indicates which RX FIFO 0 interrupts are signaled.
  * @retval None
  */
void HAL_FDCAN_RxFifo0Callback(FDCAN_HandleTypeDef *hfdcan, uint32_t RxFifo0ITs)
{
  if ((RxFifo0ITs & FDCAN_IT_RX_FIFO0_NEW_MESSAGE) != 0)
  {
    /* Read the message into a global buffer and set flag */
    if (HAL_FDCAN_GetRxMessage(hfdcan, FDCAN_RX_FIFO0,
                               (FDCAN_RxHeaderTypeDef*)&can_rx_hdr,
                               (uint8_t*)can_rx_buf) == HAL_OK)
    {
      can_rx_complete = 1;
    }
  }
}

/**
  * @brief  TX Buffer complete callback.
  * @param  hfdcan pointer to an FDCAN_HandleTypeDef structure that contains
  *         the configuration information for the specified FDCAN.
  * @param  BufferIndexes Indexes of the transmitted buffers.
  * @retval None
  */
void HAL_FDCAN_TxBufferCompleteCallback(FDCAN_HandleTypeDef *hfdcan, uint32_t BufferIndexes)
{
  /* Set flag indicating message transmitted */
  can_tx_complete = 1;
}

/* USER CODE END 4 */

void HAL_TIM_PeriodElapsedCallback(TIM_HandleTypeDef *htim)
{
  if (htim->Instance == TIM6)
  {
    HAL_IncTick();
  }
}

/**
  * @brief  BSP Push Button callback
  * @param  Button Specifies the pressed button
  * @retval None
  */
void BSP_PB_Callback(Button_TypeDef Button)
{
  if (Button == BUTTON_USER)
  {
    BspButtonState = BUTTON_PRESSED;
  }
}

void Error_Handler(void)
{
  __disable_irq();
  while (1)
  {
  }
}
